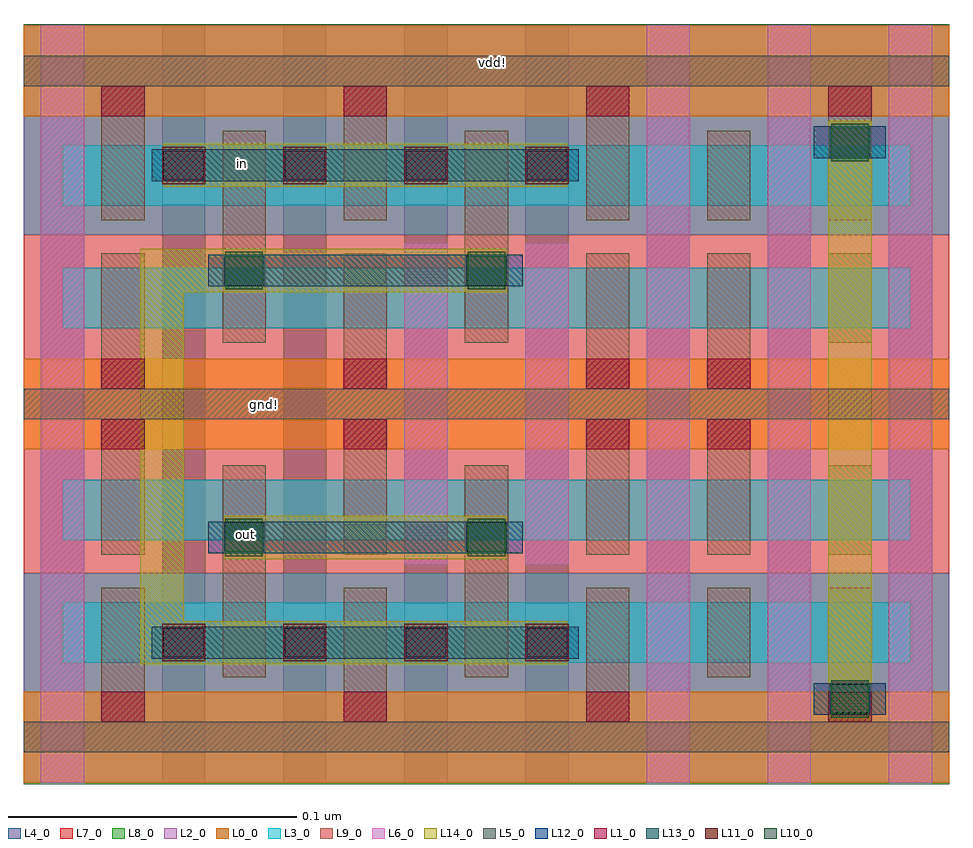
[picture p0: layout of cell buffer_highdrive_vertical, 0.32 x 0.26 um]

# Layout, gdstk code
from math import pi, radians
import gdstk
lib = gdstk.Library(unit=1e-6, precision=5e-10)
def R(c, l, rs):  # rectangles x0, y0, x1, y1
    for r in rs: c.add(gdstk.rectangle(r[:2], r[2:], *l))
def A(c, l, x, y, w, h, nx, ny, dx, dy):  # array of equal rectangles
    R(c, l, [(x+i*dx, y+j*dy, x+i*dx+w, y+j*dy+h) for i in range(nx) for j in range(ny)])
L0_0 = (0, 0)
L1_0 = (1, 0)
L2_0 = (2, 0)
L3_0 = (3, 0)
L4_0 = (4, 0)
L5_0 = (5, 0)
L6_0 = (6, 0)
L7_0 = (7, 0)
L8_0 = (8, 0)
L9_0 = (9, 0)
L10_0 = (10, 0)
L11_0 = (11, 0)
L12_0 = (12, 0)
L13_0 = (13, 0)
L14_0 = (14, 0)

bpr_m0a = lib.new_cell('BPR_M0A')
R(bpr_m0a, L0_0, [(-0.021,-0.0055,0.021,0.026)])
R(bpr_m0a, L1_0, [(-0.0075,-0.0055,0.0075,0.005)])
R(bpr_m0a, L9_0, [(-0.0075,-0.0165,0.0075,0.005)])

gate_m0b = lib.new_cell('GATE_M0B')
R(gate_m0b, L4_0, [(-0.0075,-0.0115,0.0075,0.0115)])
R(gate_m0b, L11_0, [(-0.0075,-0.0065,0.0075,0.0065)])
R(gate_m0b, L12_0, [(-0.011,-0.0055,0.011,0.0055)])

m0a_m0b = lib.new_cell('M0A_M0B')
R(m0a_m0b, L9_0, [(-0.0075,-0.0055,0.0075,0.0055)])
R(m0a_m0b, L10_0, [(-0.0065,-0.0065,0.0065,0.0065)])
R(m0a_m0b, L12_0, [(-0.0125,-0.0055,0.0125,0.0055)])

nmos = lib.new_cell('nmos')
R(nmos, L3_0, [(-0.042,-0.0105,0.042,0.0105)])
A(nmos, L4_0, -0.0495, -0.032, 0.015, 0.064, 3, 1, 0.042, 0)
R(nmos, L7_0, [(-0.0555,-0.021,0.0555,0.0205)])
R(nmos, L9_0, [(-0.0285,-0.0155,-0.0135,0.0155), (0.0135,-0.0155,0.0285,0.0155)])

pmos = lib.new_cell('pmos')
R(pmos, L2_0, [(-0.042,-0.0205,0.042,0.0205)])
R(pmos, L3_0, [(-0.042,-0.0105,0.042,0.0105)])
A(pmos, L4_0, -0.0495, -0.032, 0.015, 0.064, 3, 1, 0.042, 0)
R(pmos, L8_0, [(-0.0555,-0.0205,0.0555,0.0205)])
R(pmos, L9_0, [(-0.0285,-0.0155,-0.0135,0.0155), (0.0135,-0.0155,0.0285,0.0155)])

m0b_m1 = lib.new_cell('M0B_M1')
R(m0b_m1, L12_0, [(-0.011,-0.005,0.011,0.005)])
R(m0b_m1, L13_0, [(-0.007,-0.005,0.007,0.005)])
R(m0b_m1, L14_0, [(-0.007,-0.0075,0.007,0.0075)])

invx4 = lib.new_cell('invx4')
R(invx4, L0_0, [(0.006,0,0.243,0.0315), (0.033,0.0045,0.0535,0.0175), (0.006,0.1155,0.243,0.147), (0.194,0.131,0.215,0.143)])
R(invx4, L2_0, [(0.006,0.0745,0.243,0.147)])
A(invx4, L4_0, 0.012, 0, 0.015, 0.147, 6, 1, 0.042, 0)
R(invx4, L5_0, [(0.006,0.0105,0.243,0.021), (0.006,0.126,0.243,0.1365)])
R(invx4, L6_0, [(0.012,0,0.027,0.147), (0.222,0,0.237,0.147), (0.138,0.0315,0.153,0.0715), (0.18,0.0315,0.195,0.0715)])
R(invx4, L7_0, [(0.006,0,0.243,0.0745)])
R(invx4, L8_0, [(0.006,0.075,0.243,0.1475)])
R(invx4, L9_0, [(0.075,0.06,0.09,0.0795), (0.159,0.06,0.174,0.08)])
R(invx4, L12_0, [(0.07,0.0565,0.179,0.0675), (0.0505,0.093,0.1985,0.104)])
R(invx4, L14_0, [(0.0755,0.0545,0.1735,0.0695), (0.0795,0.058,0.0865,0.0645), (0.0545,0.091,0.1945,0.106), (0.079,0.0965,0.0855,0.1015)])
invx4.add(gdstk.Reference(bpr_m0a, (0.2085,0.121)))
invx4.add(gdstk.Reference(bpr_m0a, (0.1245,0.026), rotation=pi))
invx4.add(gdstk.Reference(bpr_m0a, (0.2085,0.026), rotation=pi))
invx4.add(gdstk.Reference(bpr_m0a, (0.0405,0.026), rotation=pi))
invx4.add(gdstk.Reference(bpr_m0a, (0.1245,0.121)))
invx4.add(gdstk.Reference(bpr_m0a, (0.0405,0.121)))
invx4.add(gdstk.Reference(gate_m0b, (0.0615,0.0985)))
invx4.add(gdstk.Reference(gate_m0b, (0.1035,0.0985)))
invx4.add(gdstk.Reference(gate_m0b, (0.1455,0.0985)))
invx4.add(gdstk.Reference(gate_m0b, (0.1875,0.0985)))
invx4.add(gdstk.Reference(m0a_m0b, (0.0825,0.062)))
invx4.add(gdstk.Reference(m0a_m0b, (0.1665,0.062)))
invx4.add(gdstk.Reference(nmos, (0.1875,0.0525)))
invx4.add(gdstk.Reference(nmos, (0.1455,0.0525)))
invx4.add(gdstk.Reference(nmos, (0.0615,0.0525)))
invx4.add(gdstk.Reference(nmos, (0.1035,0.0525)))
invx4.add(gdstk.Reference(pmos, (0.1875,0.095)))
invx4.add(gdstk.Reference(pmos, (0.1455,0.095)))
invx4.add(gdstk.Reference(pmos, (0.1035,0.095)))
invx4.add(gdstk.Reference(pmos, (0.0615,0.095)))
invx4.add(gdstk.Reference(m0b_m1, (0.0615,0.0985)))
invx4.add(gdstk.Reference(m0b_m1, (0.1035,0.0985)))
invx4.add(gdstk.Reference(m0b_m1, (0.1455,0.0985)))
invx4.add(gdstk.Reference(m0b_m1, (0.1875,0.0985)))
invx4.add(gdstk.Reference(m0b_m1, (0.0825,0.062)))
invx4.add(gdstk.Reference(m0b_m1, (0.1665,0.062)))
invx4.add(gdstk.Label('vdd!', (0.2045,0.137), layer=0, texttype=0))
invx4.add(gdstk.Label('gnd!', (0.043,0.011), layer=0, texttype=0))
invx4.add(gdstk.Label('in', (0.082,0.099), layer=14, texttype=0))
invx4.add(gdstk.Label('out', (0.083,0.061), layer=14, texttype=0))

sram_filler = lib.new_cell('sram_filler')
R(sram_filler, L0_0, [(0.001,0,0.112,0.0315), (0.072,0.0115,0.084,0.0245), (0.001,0.1155,0.112,0.147), (0.072,0.121,0.0855,0.141)])
R(sram_filler, L2_0, [(0.001,0.0745,0.112,0.147)])
A(sram_filler, L4_0, 0.007, 0, 0.015, 0.147, 3, 1, 0.042, 0)
R(sram_filler, L5_0, [(0.001,0.0105,0.112,0.021), (0.001,0.126,0.112,0.1365)])
A(sram_filler, L6_0, 0.007, 0, 0.015, 0.147, 3, 1, 0.042, 0)
R(sram_filler, L7_0, [(0.001,0,0.112,0.0745)])
R(sram_filler, L8_0, [(0.001,0.075,0.112,0.1475)])
sram_filler.add(gdstk.Reference(nmos, (0.0565,0.0525)))
sram_filler.add(gdstk.Reference(pmos, (0.0565,0.095)))
sram_filler.add(gdstk.Reference(bpr_m0a, (0.0355,0.026), rotation=pi))
sram_filler.add(gdstk.Reference(bpr_m0a, (0.0775,0.121)))

buffer_highdrive_vertica = lib.new_cell('buffer_highdrive_vertical')
R(buffer_highdrive_vertica, L0_0, [(0.079,0.012,0.0895,0.018), (0.159,0.138,0.1675,0.143)])
R(buffer_highdrive_vertica, L6_0, [(0.1325,-0.0005,0.1475,0.031), (0.1745,-0.0005,0.1895,0.031)])
R(buffer_highdrive_vertica, L14_0, [(0.2795,-0.0945,0.2945,0.1135), (0.041,-0.075,0.056,0.069), (0.041,-0.075,0.063,-0.06), (0.074,-0.0335,0.081,-0.027), (0.041,0.054,0.0845,0.069), (0.0735,0.096,0.08,0.101)])
buffer_highdrive_vertica.add(gdstk.Reference(invx4, (-0.0055,-0.0005)))
buffer_highdrive_vertica.add(gdstk.Reference(invx4, (-0.0055,0.031), x_reflection=True))
buffer_highdrive_vertica.add(gdstk.Reference(sram_filler, (0.2095,-0.0005)))
buffer_highdrive_vertica.add(gdstk.Reference(sram_filler, (0.2095,0.031), x_reflection=True))
buffer_highdrive_vertica.add(gdstk.Reference(m0a_m0b, (0.287,-0.087)))
buffer_highdrive_vertica.add(gdstk.Reference(m0a_m0b, (0.287,0.106)))
buffer_highdrive_vertica.add(gdstk.Reference(m0b_m1, (0.287,-0.087)))
buffer_highdrive_vertica.add(gdstk.Reference(m0b_m1, (0.287,0.106)))
buffer_highdrive_vertica.add(gdstk.Label('vdd!', (0.163,0.1335), layer=0, texttype=0))
buffer_highdrive_vertica.add(gdstk.Label('gnd!', (0.084,0.015), layer=0, texttype=0))
buffer_highdrive_vertica.add(gdstk.Label('in', (0.0765,0.0985), layer=14, texttype=0))
buffer_highdrive_vertica.add(gdstk.Label('out', (0.0775,-0.03), layer=14, texttype=0))

lib.write_gds('buffer_highdrive_vertical.gds')
